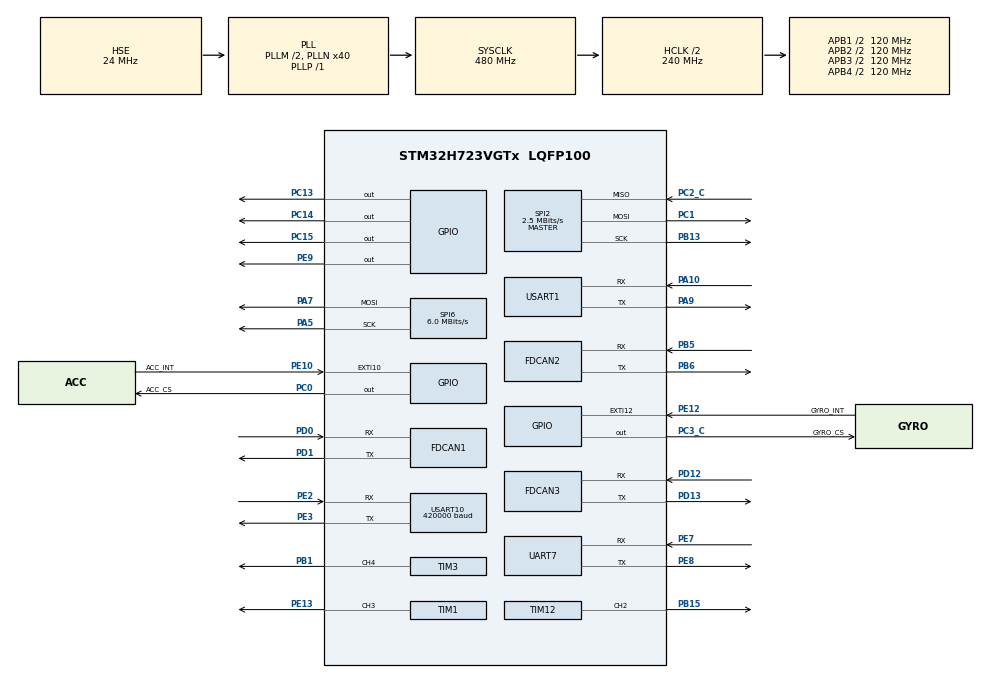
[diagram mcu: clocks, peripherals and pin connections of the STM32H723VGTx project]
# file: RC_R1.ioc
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CORTEX_M7.default_mode_Activation=1
Dma.Request0=SPI2_RX
Dma.Request1=SPI2_TX
Dma.Request2=USART10_RX
Dma.SPI2_RX.0.Direction=DMA_PERIPH_TO_MEMORY
Dma.SPI2_RX.0.EventEnable=DISABLE
Dma.SPI2_RX.0.FIFOMode=DMA_FIFOMODE_DISABLE
Dma.SPI2_RX.0.Instance=DMA1_Stream0
Dma.SPI2_RX.0.MemDataAlignment=DMA_MDATAALIGN_BYTE
Dma.SPI2_RX.0.MemInc=DMA_MINC_ENABLE
Dma.SPI2_RX.0.Mode=DMA_NORMAL
Dma.SPI2_RX.0.PeriphDataAlignment=DMA_PDATAALIGN_BYTE
Dma.SPI2_RX.0.PeriphInc=DMA_PINC_DISABLE
Dma.SPI2_RX.0.Polarity=HAL_DMAMUX_REQ_GEN_RISING
Dma.SPI2_RX.0.Priority=DMA_PRIORITY_HIGH
Dma.SPI2_RX.0.RequestNumber=1
Dma.SPI2_RX.0.SignalID=NONE
Dma.SPI2_RX.0.SyncEnable=DISABLE
Dma.SPI2_RX.0.SyncPolarity=HAL_DMAMUX_SYNC_NO_EVENT
Dma.SPI2_RX.0.SyncRequestNumber=1
Dma.SPI2_RX.0.SyncSignalID=NONE
Dma.SPI2_TX.1.Direction=DMA_MEMORY_TO_PERIPH
Dma.SPI2_TX.1.EventEnable=DISABLE
Dma.SPI2_TX.1.FIFOMode=DMA_FIFOMODE_DISABLE
Dma.SPI2_TX.1.Instance=DMA1_Stream1
Dma.SPI2_TX.1.MemDataAlignment=DMA_MDATAALIGN_BYTE
Dma.SPI2_TX.1.MemInc=DMA_MINC_ENABLE
Dma.SPI2_TX.1.Mode=DMA_NORMAL
Dma.SPI2_TX.1.PeriphDataAlignment=DMA_PDATAALIGN_BYTE
Dma.SPI2_TX.1.PeriphInc=DMA_PINC_DISABLE
Dma.SPI2_TX.1.Polarity=HAL_DMAMUX_REQ_GEN_RISING
Dma.SPI2_TX.1.Priority=DMA_PRIORITY_VERY_HIGH
Dma.SPI2_TX.1.RequestNumber=1
Dma.SPI2_TX.1.SignalID=NONE
Dma.SPI2_TX.1.SyncEnable=DISABLE
Dma.SPI2_TX.1.SyncPolarity=HAL_DMAMUX_SYNC_NO_EVENT
Dma.SPI2_TX.1.SyncRequestNumber=1
Dma.SPI2_TX.1.SyncSignalID=NONE
Dma.USART10_RX.2.Direction=DMA_PERIPH_TO_MEMORY
Dma.USART10_RX.2.EventEnable=DISABLE
Dma.USART10_RX.2.FIFOMode=DMA_FIFOMODE_DISABLE
Dma.USART10_RX.2.Instance=DMA1_Stream2
Dma.USART10_RX.2.MemDataAlignment=DMA_MDATAALIGN_BYTE
Dma.USART10_RX.2.MemInc=DMA_MINC_ENABLE
Dma.USART10_RX.2.Mode=DMA_NORMAL
Dma.USART10_RX.2.PeriphDataAlignment=DMA_PDATAALIGN_BYTE
Dma.USART10_RX.2.PeriphInc=DMA_PINC_DISABLE
Dma.USART10_RX.2.Polarity=HAL_DMAMUX_REQ_GEN_RISING
Dma.USART10_RX.2.Priority=DMA_PRIORITY_HIGH
Dma.USART10_RX.2.RequestNumber=1
Dma.USART10_RX.2.SignalID=NONE
Dma.USART10_RX.2.SyncEnable=DISABLE
Dma.USART10_RX.2.SyncPolarity=HAL_DMAMUX_SYNC_NO_EVENT
Dma.USART10_RX.2.SyncRequestNumber=1
Dma.USART10_RX.2.SyncSignalID=NONE
FDCAN1.CalculateBaudRateNominal=1000000
FDCAN1.CalculateTimeBitNominal=1000
FDCAN1.CalculateTimeQuantumNominal=25.0
FDCAN1.DataPrescaler=1
FDCAN1.DataSyncJumpWidth=2
FDCAN1.DataTimeSeg1=13
FDCAN1.DataTimeSeg2=2
FDCAN1.ExtFiltersNbr=4
FDCAN1.FrameFormat=FDCAN_FRAME_FD_BRS
FDCAN1.NominalPrescaler=3
FDCAN1.NominalSyncJumpWidth=20
FDCAN1.NominalTimeSeg1=29
FDCAN1.NominalTimeSeg2=10
FDCAN1.ProtocolException=ENABLE
FDCAN1.RxBuffersNbr=2
FDCAN1.RxFifo0ElmtsNbr=10
FDCAN1.RxFifo1ElmtsNbr=10
FDCAN1.StdFiltersNbr=4
FDCAN1.TxBuffersNbr=10
FDCAN1.TxEventsNbr=10
FDCAN1.TxFifoQueueElmtsNbr=10
FDCAN2.CalculateBaudRateNominal=1000000
FDCAN2.CalculateTimeBitNominal=1000
FDCAN2.CalculateTimeQuantumNominal=25.0
FDCAN2.DataPrescaler=1
FDCAN2.DataSyncJumpWidth=2
FDCAN2.DataTimeSeg1=13
FDCAN2.DataTimeSeg2=2
FDCAN2.ExtFiltersNbr=4
FDCAN2.FrameFormat=FDCAN_FRAME_FD_BRS
FDCAN2.MessageRAMOffset=853
FDCAN2.NominalPrescaler=3
FDCAN2.NominalSyncJumpWidth=20
FDCAN2.NominalTimeSeg1=29
FDCAN2.NominalTimeSeg2=10
FDCAN2.ProtocolException=ENABLE
FDCAN2.RxBuffersNbr=2
FDCAN2.RxFifo0ElmtsNbr=10
FDCAN2.RxFifo1ElmtsNbr=10
FDCAN2.StdFiltersNbr=4
FDCAN2.TxBuffersNbr=10
FDCAN2.TxEventsNbr=10
FDCAN2.TxFifoQueueElmtsNbr=10
FDCAN3.AutoRetransmission=DISABLE
FDCAN3.CalculateBaudRateNominal=1000000
FDCAN3.CalculateTimeBitNominal=1000
FDCAN3.CalculateTimeQuantumNominal=25.0
FDCAN3.DataPrescaler=1
FDCAN3.DataSyncJumpWidth=2
FDCAN3.DataTimeSeg1=13
FDCAN3.DataTimeSeg2=2
FDCAN3.ExtFiltersNbr=4
FDCAN3.FrameFormat=FDCAN_FRAME_FD_BRS
FDCAN3.MessageRAMOffset=1706
FDCAN3.NominalPrescaler=3
FDCAN3.NominalSyncJumpWidth=20
FDCAN3.NominalTimeSeg1=29
FDCAN3.NominalTimeSeg2=10
FDCAN3.ProtocolException=ENABLE
FDCAN3.RxBuffersNbr=2
FDCAN3.RxFifo0ElmtsNbr=10
FDCAN3.RxFifo1ElmtsNbr=10
FDCAN3.StdFiltersNbr=4
FDCAN3.TxBuffersNbr=10
FDCAN3.TxEventsNbr=10
FDCAN3.TxFifoQueueElmtsNbr=10
Mcu.Family=STM32H7
Mcu.Name=STM32H723VGTx
Mcu.Package=LQFP100
NVIC.DMA1_Stream0_IRQn=true\:1\:0\:true\:false\:true\:false\:true\:true
NVIC.DMA1_Stream1_IRQn=true\:2\:0\:true\:false\:true\:false\:true\:true
NVIC.DMA1_Stream2_IRQn=true\:0\:0\:false\:false\:true\:false\:true\:true
NVIC.FDCAN1_IT0_IRQn=true\:0\:0\:false\:false\:true\:true\:true\:true
NVIC.FDCAN1_IT1_IRQn=true\:0\:0\:false\:false\:true\:true\:true\:true
NVIC.FDCAN2_IT0_IRQn=true\:0\:0\:false\:false\:true\:true\:true\:true
NVIC.FDCAN2_IT1_IRQn=true\:0\:0\:false\:false\:true\:true\:true\:true
NVIC.FDCAN3_IT0_IRQn=true\:0\:0\:false\:false\:true\:true\:true\:true
NVIC.FDCAN3_IT1_IRQn=true\:0\:0\:false\:false\:true\:true\:true\:true
NVIC.PriorityGroup=NVIC_PRIORITYGROUP_4
NVIC.SPI2_IRQn=true\:5\:0\:true\:false\:true\:false\:true\:true
NVIC.TIM6_DAC_IRQn=true\:0\:0\:false\:false\:true\:true\:true\:true
NVIC.UART7_IRQn=true\:0\:0\:false\:false\:true\:true\:true\:true
NVIC.USART10_IRQn=true\:0\:0\:false\:false\:true\:true\:true\:true
NVIC.USART1_IRQn=true\:0\:0\:false\:false\:true\:true\:true\:true
PA10.Mode=Asynchronous
PA10.Signal=USART1_RX
PA13(JTMS/SWDIO).Mode=Serial_Wire
PA13(JTMS/SWDIO).Signal=DEBUG_JTMS-SWDIO
PA14(JTCK/SWCLK).Mode=Serial_Wire
PA14(JTCK/SWCLK).Signal=DEBUG_JTCK-SWCLK
PA5.Mode=TX_Only_Simplex_Unidirect_Master
PA5.Signal=SPI6_SCK
PA7.Mode=TX_Only_Simplex_Unidirect_Master
PA7.Signal=SPI6_MOSI
PA9.Mode=Asynchronous
PA9.Signal=USART1_TX
PB1.Signal=S_TIM3_CH4
PB13.Mode=Full_Duplex_Master
PB13.Signal=SPI2_SCK
PB15.Signal=S_TIM12_CH2
PB5.Mode=FDCAN_Activate
PB5.Signal=FDCAN2_RX
PB6.Mode=FDCAN_Activate
PB6.Signal=FDCAN2_TX
PC0.GPIO_Label=ACC_CS
PC0.GPIO_Speed=GPIO_SPEED_FREQ_VERY_HIGH
PC0.PinState=GPIO_PIN_SET
PC0.Signal=GPIO_Output
PC1.Mode=Full_Duplex_Master
PC1.Signal=SPI2_MOSI
PC13.GPIO_PuPd=GPIO_PULLUP
PC13.PinState=GPIO_PIN_SET
PC13.Signal=GPIO_Output
PC14-OSC32_IN.GPIO_PuPd=GPIO_PULLUP
PC14-OSC32_IN.PinState=GPIO_PIN_SET
PC14-OSC32_IN.Signal=GPIO_Output
PC15-OSC32_OUT.GPIO_PuPd=GPIO_PULLUP
PC15-OSC32_OUT.PinState=GPIO_PIN_SET
PC15-OSC32_OUT.Signal=GPIO_Output
PC2_C.Mode=Full_Duplex_Master
PC2_C.Signal=SPI2_MISO
PC3_C.GPIO_Label=GYRO_CS
PC3_C.GPIO_Speed=GPIO_SPEED_FREQ_VERY_HIGH
PC3_C.PinState=GPIO_PIN_SET
PC3_C.Signal=GPIO_Output
PD0.Mode=FDCAN_Activate
PD0.Signal=FDCAN1_RX
PD1.Mode=FDCAN_Activate
PD1.Signal=FDCAN1_TX
PD12.Mode=FDCAN_Activate
PD12.Signal=FDCAN3_RX
PD13.Mode=FDCAN_Activate
PD13.Signal=FDCAN3_TX
PE10.GPIO_Label=ACC_INT
PE10.Signal=GPXTI10
PE12.GPIO_Label=GYRO_INT
PE12.Signal=GPXTI12
PE13.Signal=S_TIM1_CH3
PE2.Mode=Asynchronous
PE2.Signal=USART10_RX
PE3.Mode=Asynchronous
PE3.Signal=USART10_TX
PE7.Mode=Asynchronous
PE7.Signal=UART7_RX
PE8.Mode=Asynchronous
PE8.Signal=UART7_TX
PE9.GPIO_PuPd=GPIO_PULLDOWN
PE9.Signal=GPIO_Output
PH0-OSC_IN.Mode=HSE-External-Oscillator
PH0-OSC_IN.Signal=RCC_OSC_IN
PH1-OSC_OUT.Mode=HSE-External-Oscillator
PH1-OSC_OUT.Signal=RCC_OSC_OUT
ProjectManager.HeapSize=0x200
ProjectManager.StackSize=0x400
ProjectManager.TargetToolchain=CMake
RCC.ADCFreq_Value=100000000
RCC.APB1Freq_Value=120000000
RCC.APB2Freq_Value=120000000
RCC.APB3Freq_Value=120000000
RCC.APB4Freq_Value=120000000
RCC.CKPERSourceSelection=RCC_CLKPSOURCE_HSE
RCC.CortexFreq_Value=480000000
RCC.D1PPRE=RCC_APB3_DIV2
RCC.D2PPRE1=RCC_APB1_DIV2
RCC.D2PPRE2=RCC_APB2_DIV2
RCC.D3PPRE=RCC_APB4_DIV2
RCC.DIVM1=2
RCC.DIVM2=12
RCC.DIVM3=24
RCC.DIVN1=40
RCC.DIVN2=100
RCC.DIVN3=160
RCC.DIVP1=1
RCC.DIVQ1=4
RCC.HCLKFreq_Value=240000000
RCC.HPRE=RCC_HCLK_DIV2
RCC.HSE_VALUE=24000000
RCC.PLLFRACN=0
RCC.PLLSourceVirtual=RCC_PLLSOURCE_HSE
RCC.SPI123CLockSelection=RCC_SPI123CLKSOURCE_PLL3
RCC.SPI6CLockSelection=RCC_SPI6CLKSOURCE_HSE
RCC.SYSCLKFreq_VALUE=480000000
RCC.SYSCLKSource=RCC_SYSCLKSOURCE_PLLCLK
RCC.USBFreq_Value=120000000
SH.S_TIM12_CH2.0=TIM12_CH2,PWM Generation2 CH2
SH.S_TIM1_CH3.0=TIM1_CH3,PWM Generation3 CH3
SH.S_TIM3_CH4.0=TIM3_CH4,PWM Generation4 CH4
SPI2.BaudRatePrescaler=SPI_BAUDRATEPRESCALER_32
SPI2.CLKPhase=SPI_PHASE_2EDGE
SPI2.CLKPolarity=SPI_POLARITY_HIGH
SPI2.CalculateBaudRate=2.5 MBits/s
SPI2.DataSize=SPI_DATASIZE_8BIT
SPI2.Direction=SPI_DIRECTION_2LINES
SPI2.Mode=SPI_MODE_MASTER
SPI2.VirtualType=VM_MASTER
SPI6.BaudRatePrescaler=SPI_BAUDRATEPRESCALER_4
SPI6.CLKPhase=SPI_PHASE_2EDGE
SPI6.CalculateBaudRate=6.0 MBits/s
SPI6.DataSize=SPI_DATASIZE_8BIT
SPI6.Direction=SPI_DIRECTION_2LINES_TXONLY
SPI6.Mode=SPI_MODE_MASTER
SPI6.VirtualType=VM_MASTER
STMicroelectronics.X-CUBE-ALGOBUILD.1.4.0.LibraryCcDSPOoLibraryJjDSPOoLibrary=true
TIM1.AutoReloadPreload=TIM_AUTORELOAD_PRELOAD_ENABLE
TIM1.Channel-PWM\ Generation3\ CH3=TIM_CHANNEL_3
TIM1.Period=20000-1
TIM1.Prescaler=240-1
TIM12.AutoReloadPreload=TIM_AUTORELOAD_PRELOAD_ENABLE
TIM12.Channel-PWM\ Generation2\ CH2=TIM_CHANNEL_2
TIM12.Period=2000-1
TIM12.Prescaler=6000-1
TIM3.AutoReloadPreload=TIM_AUTORELOAD_PRELOAD_ENABLE
TIM3.Channel-PWM\ Generation4\ CH4=TIM_CHANNEL_4
TIM3.Period=10000-1
TIM3.Prescaler=24-1
TIM6.Period=4400-1
TIM6.Prescaler=24000-1
USART1.VirtualMode-Asynchronous=VM_ASYNC
USART10.BaudRate=420000
USART10.VirtualMode=VM_ASYNC
VP_MEMORYMAP_VS_MEMORYMAP.Mode=CurAppReg
VP_STMicroelectronics.X-CUBE-ALGOBUILD_VS_DSPOoLibraryJjLibrary_1.4.0_1.4.0.Mode=DSPOoLibraryJjLibrary
VP_TIM1_VS_ClockSourceINT.Mode=Internal
VP_TIM6_VS_ClockSourceINT.Mode=Enable_Timer
board=custom

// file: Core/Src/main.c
/* USER CODE BEGIN Header */
/**
  ******************************************************************************
  * @file           : main.c
  * @brief          : Main program body
  ******************************************************************************
  * @attention
  *
  * Copyright (c) 2026 STMicroelectronics.
  * All rights reserved.
  *
  * This software is licensed under terms that can be found in the LICENSE file
  * in the root directory of this software component.
  * If no LICENSE file comes with this software, it is provided AS-IS.
  *
  ******************************************************************************
  */
/* USER CODE END Header */
#include "main.h"
#include "dma.h"
#include "fdcan.h"
#include "spi.h"
#include "tim.h"
#include "usart.h"
#include "gpio.h"

/* USER CODE BEGIN Includes */

#include "Serial.h"
#include "YOU.h"
#include "elrs.h"
#include "R2R.h"
#include "bsp_fdcan.h"
#include "DJI_Motor.h"
#include "pid.h"
#include "chassis_rudder.h"
#include <string.h>

#include "gripper.h"
#include "imu.h"
#include "scissor_lift.h"
#include "ws2812.h"
#include "ZDYZ_Motor.h"

/* USER CODE END Includes */

/* USER CODE BEGIN PV */

// 底盘控制全局结构体定义
// 作用：存储底盘所有控制参数、PID控制器、电机状态等信息
// 设计选择：使用全局变量而非局部变量的原因：
// 1. 生命周期需求：底盘控制需要在整个程序运行期间持续存在
// 2. 性能考虑：避免频繁的栈内存分配和释放
// 3. 代码简洁：所有底盘控制函数都需要此结构体指针参数
// 4. 状态持久：底盘的运动状态、PID参数等需要长期保持
Chassis_Rudder_t chassis;

/* USER CODE END PV */

void SystemClock_Config(void);
static void MPU_Config(void);

int main(void)
{

  /* MPU Configuration--------------------------------------------------------*/
  MPU_Config();

  /* MCU Configuration--------------------------------------------------------*/

  /* Reset of all peripherals, Initializes the Flash interface and the Systick. */
  HAL_Init();

  /* Configure the system clock */
  SystemClock_Config();

  /* Initialize all configured peripherals */
  MX_GPIO_Init();
  MX_DMA_Init();
  MX_FDCAN1_Init();
  MX_FDCAN2_Init();
  MX_FDCAN3_Init();
  MX_SPI2_Init();
  MX_SPI6_Init();
  MX_UART7_Init();
  MX_USART1_UART_Init();
  MX_USART10_UART_Init();
  MX_TIM12_Init();
  MX_TIM3_Init();
  MX_TIM1_Init();
  MX_TIM6_Init();
  /* USER CODE BEGIN 2 */
  bsp_fdcan_set_baud(&hfdcan1, CAN_CLASS, CAN_BR_1M);
  bsp_fdcan_set_baud(&hfdcan2, CAN_CLASS, CAN_BR_1M);
  bsp_fdcan_set_baud(&hfdcan3, CAN_CLASS, CAN_BR_1M);
  bsp_can_init(&hfdcan1);
  bsp_can_init(&hfdcan2);
  bsp_can_init(&hfdcan3);

  //IMU_Init();
  ELRS_Init();
  R2R_Init();//两车通信
  DJI_Motor_Init();
  ZDYZ_Init();
  Serial_Init();
  // 初始化底盘控制
  Chassis_Rudder_Init(&chassis);
  //导轨\舵机初始化
  //gripper_Init();
  //剪式升降机构初始化
  //HAL_Delay(500);//等待达妙电机上电
  sl_Init();
  /* USER CODE END 2 */

  /* Infinite loop */
  /* USER CODE BEGIN WHILE */

  //RGB控制
  WS2812_Ctrl(3, 4, 5);
  //音乐播放《你》
  //gala_you();

  while (1)
  {
    R2R_Update();
    IMU_Task(remoter.key.SE,1);
    //Serial_Printf("%f,%f\n",imu_data.yaw,yaw_rad);
    //Serial_Printf("%d\n", motor_feedback[MOTOR_3508_ID5_INDEX].loop/19);
    //motor_abs_turns(1,remoter.var.S1,3000,150);
    // 测试不同的速度值
    //Serial_Printf("%f\n", motor_feedback[MOTOR_6020_ID3_INDEX].angle);//校准0位
    //Serial_Printf("%f,%f,%f,%f\n", target_angle_deg, actual_angle,outspeed,speed_dps);//6020
    //gripper_Task(1, remoter.key.SF, remoter.var.S1);
    scissor_lift_Task(remoter.var.S1/5,remoter.var.S2*0.0628,remoter.key.SB,remoter.key.SC,remoter.key.SD);
    //scissor_lift_Task(10);
    Chassis_Rudder_Task(&chassis, remoter.key.SA,
                      remoter.joy.l_x, remoter.joy.l_y, remoter.joy.r_y);
    HAL_Delay(0);
    //Firmware_Loop();
    /* USER CODE END WHILE */

  }
}

void SystemClock_Config(void)
{
  RCC_OscInitTypeDef RCC_OscInitStruct = {0};
  RCC_ClkInitTypeDef RCC_ClkInitStruct = {0};

  /** Supply configuration update enable
  */
  HAL_PWREx_ConfigSupply(PWR_LDO_SUPPLY);

  /** Configure the main internal regulator output voltage
  */
  __HAL_PWR_VOLTAGESCALING_CONFIG(PWR_REGULATOR_VOLTAGE_SCALE0);

  while(!__HAL_PWR_GET_FLAG(PWR_FLAG_VOSRDY)) {}

  /** Initializes the RCC Oscillators according to the specified parameters
  * in the RCC_OscInitTypeDef structure.
  */
  RCC_OscInitStruct.OscillatorType = RCC_OSCILLATORTYPE_HSE;
  RCC_OscInitStruct.HSEState = RCC_HSE_ON;
  RCC_OscInitStruct.PLL.PLLState = RCC_PLL_ON;
  RCC_OscInitStruct.PLL.PLLSource = RCC_PLLSOURCE_HSE;
  RCC_OscInitStruct.PLL.PLLM = 2;
  RCC_OscInitStruct.PLL.PLLN = 40;
  RCC_OscInitStruct.PLL.PLLP = 1;
  RCC_OscInitStruct.PLL.PLLQ = 4;
  RCC_OscInitStruct.PLL.PLLR = 2;
  RCC_OscInitStruct.PLL.PLLRGE = RCC_PLL1VCIRANGE_3;
  RCC_OscInitStruct.PLL.PLLVCOSEL = RCC_PLL1VCOWIDE;
  RCC_OscInitStruct.PLL.PLLFRACN = 0;
  if (HAL_RCC_OscConfig(&RCC_OscInitStruct) != HAL_OK)
  {
    Error_Handler();
  }

  /** Initializes the CPU, AHB and APB buses clocks
  */
  RCC_ClkInitStruct.ClockType = RCC_CLOCKTYPE_HCLK|RCC_CLOCKTYPE_SYSCLK
                              |RCC_CLOCKTYPE_PCLK1|RCC_CLOCKTYPE_PCLK2
                              |RCC_CLOCKTYPE_D3PCLK1|RCC_CLOCKTYPE_D1PCLK1;
  RCC_ClkInitStruct.SYSCLKSource = RCC_SYSCLKSOURCE_PLLCLK;
  RCC_ClkInitStruct.SYSCLKDivider = RCC_SYSCLK_DIV1;
  RCC_ClkInitStruct.AHBCLKDivider = RCC_HCLK_DIV2;
  RCC_ClkInitStruct.APB3CLKDivider = RCC_APB3_DIV2;
  RCC_ClkInitStruct.APB1CLKDivider = RCC_APB1_DIV2;
  RCC_ClkInitStruct.APB2CLKDivider = RCC_APB2_DIV2;
  RCC_ClkInitStruct.APB4CLKDivider = RCC_APB4_DIV2;

  if (HAL_RCC_ClockConfig(&RCC_ClkInitStruct, FLASH_LATENCY_3) != HAL_OK)
  {
    Error_Handler();
  }
}

 /* MPU Configuration */

void MPU_Config(void)
{
  MPU_Region_InitTypeDef MPU_InitStruct = {0};

  /* Disables the MPU */
  HAL_MPU_Disable();

  /** Initializes and configures the Region and the memory to be protected
  */
  MPU_InitStruct.Enable = MPU_REGION_ENABLE;
  MPU_InitStruct.Number = MPU_REGION_NUMBER0;
  MPU_InitStruct.BaseAddress = 0x0;
  MPU_InitStruct.Size = MPU_REGION_SIZE_4GB;
  MPU_InitStruct.SubRegionDisable = 0x87;
  MPU_InitStruct.TypeExtField = MPU_TEX_LEVEL0;
  MPU_InitStruct.AccessPermission = MPU_REGION_NO_ACCESS;
  MPU_InitStruct.DisableExec = MPU_INSTRUCTION_ACCESS_DISABLE;
  MPU_InitStruct.IsShareable = MPU_ACCESS_SHAREABLE;
  MPU_InitStruct.IsCacheable = MPU_ACCESS_NOT_CACHEABLE;
  MPU_InitStruct.IsBufferable = MPU_ACCESS_NOT_BUFFERABLE;

  HAL_MPU_ConfigRegion(&MPU_InitStruct);
  /* Enables the MPU */
  HAL_MPU_Enable(MPU_PRIVILEGED_DEFAULT);

}

void Error_Handler(void)
{
  __disable_irq();
  while (1)
  {
  }
}
